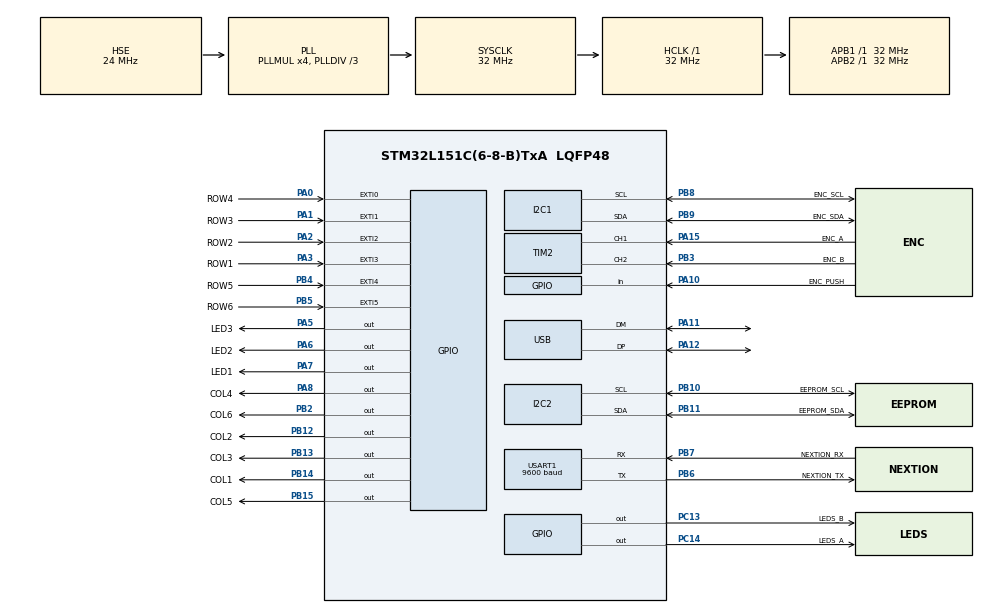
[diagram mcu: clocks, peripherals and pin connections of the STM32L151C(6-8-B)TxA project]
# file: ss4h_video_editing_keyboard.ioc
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I2C1.I2C_Mode=I2C_Standard
I2C1.NoStretchMode=I2C_NOSTRETCH_ENABLE
I2C2.I2C_Mode=I2C_Fast
Mcu.Family=STM32L1
Mcu.Name=STM32L151C(6-8-B)TxA
Mcu.Package=LQFP48
NVIC.EXTI0_IRQn=true\:0\:0\:false\:false\:true\:true\:true\:true
NVIC.EXTI1_IRQn=true\:0\:0\:false\:false\:true\:true\:true\:true
NVIC.EXTI2_IRQn=true\:0\:0\:false\:false\:true\:true\:true\:true
NVIC.EXTI3_IRQn=true\:0\:0\:false\:false\:true\:true\:true\:true
NVIC.EXTI4_IRQn=true\:0\:0\:false\:false\:true\:true\:true\:true
NVIC.EXTI9_5_IRQn=true\:0\:0\:false\:false\:true\:true\:true\:true
NVIC.PriorityGroup=NVIC_PRIORITYGROUP_4
NVIC.TIM10_IRQn=true\:0\:0\:false\:false\:true\:true\:true\:true
NVIC.TIM6_IRQn=true\:0\:0\:false\:false\:true\:true\:true\:true
NVIC.TIM7_IRQn=true\:0\:0\:false\:false\:true\:true\:true\:true
NVIC.USART1_IRQn=true\:0\:0\:false\:false\:true\:true\:true\:true
NVIC.USB_HP_IRQn=true\:0\:0\:false\:false\:true\:true\:true\:true
NVIC.USB_LP_IRQn=true\:0\:0\:false\:false\:true\:false\:true\:true
PA0-WKUP1.GPIO_Label=ROW4
PA0-WKUP1.Signal=GPXTI0
PA1.GPIO_Label=ROW3
PA1.Signal=GPXTI1
PA10.GPIO_Label=ENC_PUSH
PA10.Signal=GPIO_Input
PA11.Mode=Device
PA11.Signal=USB_DM
PA12.Mode=Device
PA12.Signal=USB_DP
PA15.GPIO_Label=ENC_A
PA15.Signal=S_TIM2_CH1_ETR
PA2.GPIO_Label=ROW2
PA2.Signal=GPXTI2
PA3.GPIO_Label=ROW1
PA3.Signal=GPXTI3
PA5.GPIO_Label=LED3
PA5.GPIO_Speed=GPIO_SPEED_FREQ_HIGH
PA5.PinState=GPIO_PIN_SET
PA5.Signal=GPIO_Output
PA6.GPIO_Label=LED2
PA6.GPIO_Speed=GPIO_SPEED_FREQ_HIGH
PA6.PinState=GPIO_PIN_SET
PA6.Signal=GPIO_Output
PA7.GPIO_Label=LED1
PA7.GPIO_Speed=GPIO_SPEED_FREQ_HIGH
PA7.Signal=GPIO_Output
PA8.GPIO_Label=COL4
PA8.PinState=GPIO_PIN_RESET
PA8.Signal=GPIO_Output
PB10.GPIO_Label=EEPROM_SCL
PB10.Mode=I2C
PB10.Signal=I2C2_SCL
PB11.GPIO_Label=EEPROM_SDA
PB11.Mode=I2C
PB11.Signal=I2C2_SDA
PB12.GPIO_Label=COL2
PB12.PinState=GPIO_PIN_RESET
PB12.Signal=GPIO_Output
PB13.GPIO_Label=COL3
PB13.PinState=GPIO_PIN_RESET
PB13.Signal=GPIO_Output
PB14.GPIO_Label=COL1
PB14.PinState=GPIO_PIN_RESET
PB14.Signal=GPIO_Output
PB15.GPIO_Label=COL5
PB15.PinState=GPIO_PIN_RESET
PB15.Signal=GPIO_Output
PB2.GPIO_Label=COL6
PB2.PinState=GPIO_PIN_RESET
PB2.Signal=GPIO_Output
PB3.GPIO_Label=ENC_B
PB3.Signal=S_TIM2_CH2
PB4.GPIO_Label=ROW5
PB4.Signal=GPXTI4
PB5.GPIO_Label=ROW6
PB5.Signal=GPXTI5
PB6.GPIO_Label=NEXTION_TX
PB6.Mode=Asynchronous
PB6.Signal=USART1_TX
PB7.GPIO_Label=NEXTION_RX
PB7.Mode=Asynchronous
PB7.Signal=USART1_RX
PB8.GPIO_Label=ENC_SCL
PB8.Mode=I2C
PB8.Signal=I2C1_SCL
PB9.GPIO_Label=ENC_SDA
PB9.Mode=I2C
PB9.Signal=I2C1_SDA
PC13-WKUP2.GPIO_Label=LEDS_B
PC13-WKUP2.GPIO_Speed=GPIO_SPEED_FREQ_HIGH
PC13-WKUP2.PinState=GPIO_PIN_RESET
PC13-WKUP2.Signal=GPIO_Output
PC14-OSC32_IN.GPIO_Label=LEDS_A
PC14-OSC32_IN.GPIO_Speed=GPIO_SPEED_FREQ_HIGH
PC14-OSC32_IN.PinState=GPIO_PIN_SET
PC14-OSC32_IN.Signal=GPIO_Output
PH0-OSC_IN.Mode=HSE-External-Oscillator
PH0-OSC_IN.Signal=RCC_OSC_IN
PH1-OSC_OUT.Mode=HSE-External-Oscillator
PH1-OSC_OUT.Signal=RCC_OSC_OUT
ProjectManager.HeapSize=0x200
ProjectManager.StackSize=0x400
ProjectManager.TargetToolchain=STM32CubeIDE
RCC.48MHZClocksFreq_Value=48000000
RCC.AHBFreq_Value=32000000
RCC.APB1Freq_Value=32000000
RCC.APB1TimFreq_Value=32000000
RCC.APB2Freq_Value=32000000
RCC.APB2TimFreq_Value=32000000
RCC.HCLKFreq_Value=32000000
RCC.HSE_VALUE=24000000
RCC.HSI_VALUE=16000000
RCC.LSE_VALUE=32768
RCC.MSI_VALUE=2097000
RCC.PLLDIV=RCC_PLL_DIV3
RCC.PLLMUL=RCC_PLL_MUL4
RCC.SYSCLKFreq_VALUE=32000000
RCC.SYSCLKSource=RCC_SYSCLKSOURCE_PLLCLK
RCC.VCOOutputFreq_Value=96000000
SH.S_TIM2_CH1_ETR.0=TIM2_CH1,Encoder_Interface
SH.S_TIM2_CH2.0=TIM2_CH2,Encoder_Interface
TIM10.AutoReloadPreload=TIM_AUTORELOAD_PRELOAD_ENABLE
TIM10.Period=32000-1
TIM10.Prescaler=50-1
TIM2.EncoderMode=TIM_ENCODERMODE_TI12
TIM2.IC1Filter=0
TIM2.IC2Filter=0
TIM6.AutoReloadPreload=TIM_AUTORELOAD_PRELOAD_ENABLE
TIM6.Period=3200-1
TIM6.Prescaler=200-1
TIM7.AutoReloadPreload=TIM_AUTORELOAD_PRELOAD_ENABLE
TIM7.Period=32000-1
TIM7.Prescaler=30-1
USART1.BaudRate=9600
USART1.VirtualMode=VM_ASYNC
USB_DEVICE.CLASS_NAME_FS=HID
USB_DEVICE.PRODUCT_STRING_HID_FS=SS4H Video Editing Keypad
USB_DEVICE.VirtualMode=Hid
USB_DEVICE.VirtualModeFS=Hid_FS
VP_TIM10_VS_ClockSourceINT.Mode=Internal
VP_TIM6_VS_ClockSourceINT.Mode=Enable_Timer
VP_TIM7_VS_ClockSourceINT.Mode=Enable_Timer
VP_USB_DEVICE_VS_USB_DEVICE_HID_FS.Mode=HID_FS
board=custom

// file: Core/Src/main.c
/* USER CODE BEGIN Header */
/**
  ******************************************************************************
  * @file           : main.c
  * @brief          : Main program body
  ******************************************************************************
  * @attention
  *
  * Created by: Smart Solutions for Home - Sebastian Sokołowski
  *
  ******************************************************************************
  */
/* USER CODE END Header */
#include "main.h"
#include "i2c.h"
#include "tim.h"
#include "usart.h"
#include "usb_device.h"
#include "gpio.h"

/* USER CODE BEGIN Includes */
#include "as5601.h"
#include "keys.h"
#include "knob.h"
#include "usbd_hid.h"
#include "nextion.h"
/* USER CODE END Includes */

/* USER CODE BEGIN PTD */
void KnobModeLED(uint8_t led);
void HID_Send(RDY_Key_t *buff);
void LED_Routine(void);
void LongPress_Routine(void);

/* USER CODE END PTD */

/* USER CODE BEGIN PV */
Status_t Status;
HID_Status_t HID_Status;

extern USBD_HandleTypeDef hUsbDeviceFS;
extern RDY_Key_t KeyMacro[], KnobMacro[];

uint8_t i;

/* USER CODE END PV */

void SystemClock_Config(void);

int main(void)
{

  /* MCU Configuration--------------------------------------------------------*/

  /* Reset of all peripherals, Initializes the Flash interface and the Systick. */
  HAL_Init();

  /* Configure the system clock */
  SystemClock_Config();

  /* Initialize all configured peripherals */
  MX_GPIO_Init();
  MX_TIM10_Init();
  MX_TIM2_Init();
  MX_I2C1_Init();
  MX_I2C2_Init();
  MX_USB_DEVICE_Init();
  MX_TIM7_Init();
  MX_TIM6_Init();
  MX_USART1_UART_Init();
  /* USER CODE BEGIN 2 */

  HAL_TIM_Base_Start_IT(&htim6);
  HAL_TIM_Encoder_Start(&htim2, TIM_CHANNEL_ALL);

  /* Wait for Nextion display buffer */
  HAL_UART_Receive_IT(&huart1, (uint8_t *)Status.NextionRX_buff, 3);

  /* Set the required Encoder resolution and save it. It is enough to call this function only once. */
  //SetResolution(0x07); //1024 ticks per rotation
  //BurnSettings();

  /* Default state */
  HAL_GPIO_WritePin(LEDS_A_GPIO_Port, LEDS_A_Pin, GPIO_PIN_SET);
  HAL_GPIO_WritePin(LEDS_B_GPIO_Port, LEDS_B_Pin, GPIO_PIN_SET);

  Status.NumOfKeys = 1;
  Status.Knob_Mode = JOG;

  /* USER CODE END 2 */

  /* Infinite loop */
  /* USER CODE BEGIN WHILE */
  while (1)
  {
	  /* Routines are triggered every 1 ms. */
	  if(Status.Flags.FLAG_1MS)
	  {
		  Status.Flags.FLAG_1MS = RESET;

		  KnobRoutine();
		  HID_Buf_Routine();
		  LED_Routine();
		  LongPress_Routine();
	  }

	  /* Send report - USB */
	  if(HID_Status.buff_ready == SET)
	  {
		  for(i = 0; i < Status.NumOfKeys; i++)
		  {
			  USBD_HID_SendReport(&hUsbDeviceFS, &HID_Status.buff[i], sizeof(HID_Status.buff[i])); //Press the appropriate key
			  HAL_Delay(20);
			  USBD_HID_SendReport(&hUsbDeviceFS, &KeyMacro[0], sizeof(KeyMacro[0])); //After 20ms release all keys

			  /* If you are using a macro and you need more than one key (one after the other) */
			  if(Status.NumOfKeys > 1)
				  HAL_Delay(100);
		  }

		  Status.NumOfKeys = 1;
		  HID_Status.buff_ready = RESET;
	  }

    /* USER CODE END WHILE */

  }
}

void SystemClock_Config(void)
{
  RCC_OscInitTypeDef RCC_OscInitStruct = {0};
  RCC_ClkInitTypeDef RCC_ClkInitStruct = {0};

  /** Configure the main internal regulator output voltage
  */
  __HAL_PWR_VOLTAGESCALING_CONFIG(PWR_REGULATOR_VOLTAGE_SCALE1);

  /** Initializes the RCC Oscillators according to the specified parameters
  * in the RCC_OscInitTypeDef structure.
  */
  RCC_OscInitStruct.OscillatorType = RCC_OSCILLATORTYPE_HSE;
  RCC_OscInitStruct.HSEState = RCC_HSE_ON;
  RCC_OscInitStruct.PLL.PLLState = RCC_PLL_ON;
  RCC_OscInitStruct.PLL.PLLSource = RCC_PLLSOURCE_HSE;
  RCC_OscInitStruct.PLL.PLLMUL = RCC_PLL_MUL4;
  RCC_OscInitStruct.PLL.PLLDIV = RCC_PLL_DIV3;
  if (HAL_RCC_OscConfig(&RCC_OscInitStruct) != HAL_OK)
  {
    Error_Handler();
  }

  /** Initializes the CPU, AHB and APB buses clocks
  */
  RCC_ClkInitStruct.ClockType = RCC_CLOCKTYPE_HCLK|RCC_CLOCKTYPE_SYSCLK
                              |RCC_CLOCKTYPE_PCLK1|RCC_CLOCKTYPE_PCLK2;
  RCC_ClkInitStruct.SYSCLKSource = RCC_SYSCLKSOURCE_PLLCLK;
  RCC_ClkInitStruct.AHBCLKDivider = RCC_SYSCLK_DIV1;
  RCC_ClkInitStruct.APB1CLKDivider = RCC_HCLK_DIV1;
  RCC_ClkInitStruct.APB2CLKDivider = RCC_HCLK_DIV1;

  if (HAL_RCC_ClockConfig(&RCC_ClkInitStruct, FLASH_LATENCY_1) != HAL_OK)
  {
    Error_Handler();
  }
}

/* USER CODE BEGIN 4 */

/* After pressing a key and turning the knob */
void LongPress_Routine(void)
{
	if(Status.Pressed_Key == 19)
		Status.Edit_mode = ZOOM;
	else if(Status.Pressed_Key == 12) //SLIP
	{
		Status.Edit_mode = SLIP;

		if(Status.LP_Key_state.KEY_SLIP == KEY_IDLE)
		{
			Status.LP_Key_state.KEY_SLIP = KEY_JUST_PRESSED;

			HID_Status.buff[0] = KeyMacro[Status.Pressed_Key];
			HID_Status.buff_ready = SET;
		}
		else if(Status.LP_Key_state.KEY_SLIP == KEY_JUST_PRESSED)
			Status.LP_Key_state.KEY_SLIP = KEY_PRESSED;
	}
	else if(Status.Pressed_Key == 13) //SLIDE
	{
		Status.Edit_mode = SLIDE;

		if(Status.LP_Key_state.KEY_SLIDE == KEY_IDLE)
		{
			Status.LP_Key_state.KEY_SLIDE = KEY_JUST_PRESSED;

			HID_Status.buff[0] = KeyMacro[Status.Pressed_Key];
			HID_Status.buff_ready = SET;
		}
		else if(Status.LP_Key_state.KEY_SLIDE == KEY_JUST_PRESSED)
			Status.LP_Key_state.KEY_SLIDE = KEY_PRESSED;
	}
	else if(Status.Pressed_Key == 32) //Audio level
	{
		Status.Edit_mode = AUDIO;

		if(Status.LP_Key_state.KEY_AUDIO == KEY_IDLE)
		{
			Status.LP_Key_state.KEY_AUDIO = KEY_JUST_PRESSED;

			HID_Status.buff[0] = KeyMacro[40]; //Select clip
			HID_Status.buff_ready = SET;
		}
		else if(Status.LP_Key_state.KEY_AUDIO == KEY_JUST_PRESSED)
			Status.LP_Key_state.KEY_AUDIO = KEY_PRESSED;
	}
	else if(Status.Pressed_Key == 24)
	{
		Status.Edit_mode = SWAP;

		if(Status.LP_Key_state.KEY_SWAP == KEY_IDLE)
		{
			Status.LP_Key_state.KEY_SWAP = KEY_JUST_PRESSED;

			HID_Status.buff[0] = KeyMacro[40]; //Select clip
			HID_Status.buff_ready = SET;
		}
		else if(Status.LP_Key_state.KEY_SWAP == KEY_JUST_PRESSED)
			Status.LP_Key_state.KEY_SWAP = KEY_PRESSED;
	}
	else if(Status.Pressed_Key == 20)
		Status.Edit_mode = SNAP;
	else
	{
		Status.Edit_mode = NONE_MODE;

		/* SWAP */
		if(Status.LP_Key_state.KEY_SWAP == KEY_PRESSED)
		{
			Status.LP_Key_state.KEY_SWAP = KEY_JUST_RELEASED;

			HID_Status.buff[0] = KeyMacro[35]; //Deselect clip
			HID_Status.buff_ready = SET;
		}
		else if(Status.LP_Key_state.KEY_SWAP == KEY_JUST_RELEASED)
			Status.LP_Key_state.KEY_SWAP = KEY_IDLE;

		/* AUDIO */
		if(Status.LP_Key_state.KEY_AUDIO == KEY_PRESSED)
		{
			Status.LP_Key_state.KEY_AUDIO = KEY_JUST_RELEASED;

			HID_Status.buff[0] = KeyMacro[35]; //Deselect clip
			HID_Status.buff_ready = SET;
		}
		else if(Status.LP_Key_state.KEY_AUDIO == KEY_JUST_RELEASED)
			Status.LP_Key_state.KEY_AUDIO = KEY_IDLE;

		/* SLIP */
		if(Status.LP_Key_state.KEY_SLIP == KEY_PRESSED)
		{
			Status.LP_Key_state.KEY_SLIP = KEY_JUST_RELEASED;

			HID_Status.buff[0] = KeyMacro[35]; //Deselect All
			HID_Status.buff[1] = KeyMacro[39]; //Selection mode

			Status.NumOfKeys = 2;
			HID_Status.buff_ready = SET;
		}
		else if(Status.LP_Key_state.KEY_SLIP == KEY_JUST_RELEASED)
			Status.LP_Key_state.KEY_SLIP = KEY_IDLE;

		/* SLIDE */
		if(Status.LP_Key_state.KEY_SLIDE == KEY_PRESSED)
		{
			Status.LP_Key_state.KEY_SLIDE = KEY_JUST_RELEASED;

			HID_Status.buff[0] = KeyMacro[35]; //Deselect All
			HID_Status.buff[1] = KeyMacro[39]; //Selection mode

			Status.NumOfKeys = 2;
			HID_Status.buff_ready = SET;
		}
		else if(Status.LP_Key_state.KEY_SLIDE == KEY_JUST_RELEASED)
			Status.LP_Key_state.KEY_SLIDE = KEY_IDLE;
	}

}

/* Knob mode */
void LED_Routine(void)
{
	if(Status.Knob_Mode == SHTL)
	  KnobModeLED(1);
	else if(Status.Knob_Mode == JOG)
	  KnobModeLED(2);
	else if(Status.Knob_Mode == SCRL)
	  KnobModeLED(3);
}

/* Knob ring of LEDs */
void KnobModeLED(uint8_t led)
{
	switch(led)
	{
		case 1:
			HAL_GPIO_WritePin(LED1_GPIO_Port, LED1_Pin, GPIO_PIN_RESET);
			HAL_GPIO_WritePin(LED2_GPIO_Port, LED2_Pin, GPIO_PIN_SET);
			HAL_GPIO_WritePin(LED3_GPIO_Port, LED3_Pin, GPIO_PIN_SET);
		break;
		case 2:
			HAL_GPIO_WritePin(LED1_GPIO_Port, LED1_Pin, GPIO_PIN_SET);
			HAL_GPIO_WritePin(LED2_GPIO_Port, LED2_Pin, GPIO_PIN_RESET);
			HAL_GPIO_WritePin(LED3_GPIO_Port, LED3_Pin, GPIO_PIN_SET);
		break;
		case 3:
			HAL_GPIO_WritePin(LED1_GPIO_Port, LED1_Pin, GPIO_PIN_SET);
			HAL_GPIO_WritePin(LED2_GPIO_Port, LED2_Pin, GPIO_PIN_SET);
			HAL_GPIO_WritePin(LED3_GPIO_Port, LED3_Pin, GPIO_PIN_RESET);
		break;
	}
}

/* USER CODE END 4 */

void Error_Handler(void)
{
  __disable_irq();
  while (1)
  {
  }
}
